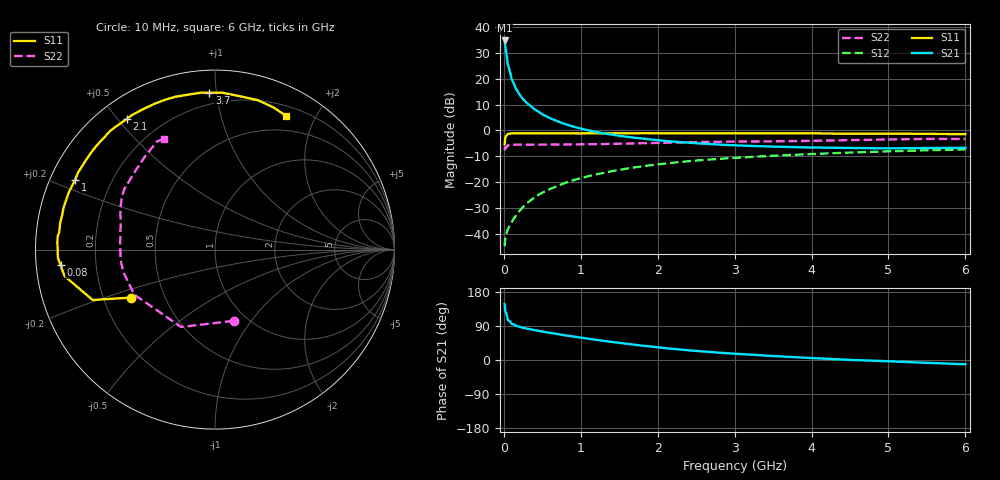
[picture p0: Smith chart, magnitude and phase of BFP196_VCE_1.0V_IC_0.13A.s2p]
! (c) 2017  Infineon Technologies AG, Munich
! Infineon Technologies  Discrete & RF Semiconductors
! BFP196
! VCE =  1.0 V,  IC = 0.13 A
! Common Emitter S-Parameters:  Jan 2017
# GHz  S  MA  R  50
!  f  S11  S21  S12  S22
! GHz  MAG  ANG  MAG  ANG  MAG  ANG  MAG  ANG
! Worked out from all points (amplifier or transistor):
!   77 points, 10 MHz to 6 GHz, reference 50 ohm
!   highest |S21| = 34.9 dB at 10 MHz (marker M1)
!   |S21| within 3 dB of that: start of sweep to 21.84 MHz
!   unconditionally stable (mu >= 1): start of sweep to 10.39 MHz; 139.4 MHz to end of sweep
!   at 130 MHz: K = 0.98, MSG = 26.2 dB, |S12| = -34.2 dB
!   at 2.2 GHz: K = 1.07, MAG = 2.5 dB, |S12| = -12.5 dB
!   at 6 GHz: K = 1.06, MAG = -1.1 dB, |S12| = -7.4 dB
!   S11 on the Smith chart (normalised r, x): 10 MHz: 0.32, -0.24; 80 MHz: 0.07, -0.05; 1 GHz: 0.07, +0.24; 2.1 GHz: 0.08, +0.53; 3.7 GHz: 0.13, +0.96; 6 GHz: 0.31, +1.62
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0.01  0.5373 -150.2  55.3 147.4  0.0057 55.9  0.4103 -75.4
0.02  0.7369 -157.6  40.64 127.9  0.0085 48.7  0.4708 -113.7
0.05  0.8512 -170.0  19.34 105.9  0.0119 43.3  0.5151 -150.9
0.08  0.8648 -174.2  13.7 101.4  0.0146 52.5  0.5171 -160.1
0.1  0.8765 -177.0  10.02 95.6  0.0165 56.9  0.5257 -166.1
0.15  0.877 179.7  6.722 91.2  0.0215 62.3  0.5274 -171.6
0.2  0.8789 177.4  5.049 87.7  0.027 66.3  0.5286 -174.8
0.25  0.88 175.3  4.037 85.1  0.033 66.4  0.5268 -176.9
0.3  0.8734 173.6  3.372 82.9  0.0385 69.6  0.5273 -178.7
0.4  0.8752 170.3  2.55 78.7  0.0503 70.9  0.5283 178.9
0.5  0.8732 167.2  2.05 75.1  0.0619 70.2  0.5287 176.9
0.6  0.8755 164.4  1.726 71.6  0.073 69.6  0.5316 175.1
0.7  0.8741 161.8  1.493 68.5  0.0842 68.8  0.5306 173.3
1  0.8712 153.4  1.084 59.1  0.1183 65.3  0.5375 169.0
1.1  0.8756 150.5  1.001 56.2  0.1296 63.8  0.5398 167.7
1.5  0.8775 139.8  0.785 45.3  0.1715 57.3  0.5521 162.5
2.1  0.8786 124.0  0.626 31.4  0.2275 47.1  0.5761 155.8
3.1  0.8776 102.7  0.507 15.4  0.299 31.6  0.6081 145.2
3.7  0.8747 92.1  0.477 8.3  0.3323 23.6  0.6186 137.6
4.1  0.8721 86.0  0.464 4.2  0.3528 18.5  0.6311 132.4
5.1  0.8633 72.7  0.449 -4.2  0.3961 6.5  0.6701 121.1
6  0.844 62.0  0.458 -11.2  0.4279 -3.5  0.6807 114.7
